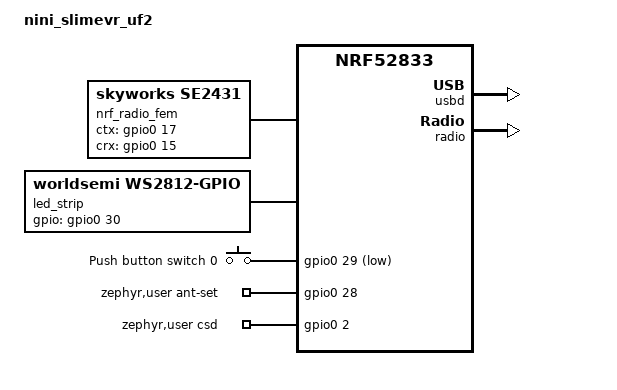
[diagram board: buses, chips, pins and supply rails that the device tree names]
// Copyright (c) 2024 Nordic Semiconductor ASA
// SPDX-License-Identifier: Apache-2.0

/dts-v1/;
#include <nordic/nrf52833_qdaa.dtsi>
#include <zephyr/dt-bindings/input/input-event-codes.h>
#include <zephyr/dt-bindings/led/led.h>

/ {
	model = "nini_slimevr_uf2";
	compatible = "nini_slimevr_uf2";

	chosen {
		zephyr,sram = <&sram0>;
		zephyr,flash = <&flash0>;
		zephyr,console = <&cdc_acm_uart0>;
		zephyr,shell-uart = <&cdc_acm_uart0>;
	};

	nrf_radio_fem: se2431_fem {
		compatible = "skyworks,se2431", "generic-fem-two-ctrl-pins";
		ctx-gpios = <&gpio0 17 GPIO_ACTIVE_HIGH>;  /* TXEN */
		ctx-settle-time-us = <23>;
		crx-gpios = <&gpio0 15 GPIO_ACTIVE_HIGH>;  /* RXEN */
		crx-settle-time-us = <8>;
		tx-gain-db = <22>;
		rx-gain-db = <19>;
	};

	led_strip: ws2812b {
		compatible = "worldsemi,ws2812-gpio";
		gpios = <&gpio0 30 GPIO_ACTIVE_HIGH>;
		chain-length = <1>;
		color-mapping = <LED_COLOR_ID_GREEN LED_COLOR_ID_RED LED_COLOR_ID_BLUE>;
		status = "okay";
	};

	buttons {
		compatible = "gpio-keys";
		button0: button_0 {
			gpios = <&gpio0 29 (GPIO_PULL_UP | GPIO_ACTIVE_LOW)>;
			label = "Push button switch 0";
			zephyr,code = <INPUT_KEY_0>;
		};
	};

	aliases {
		led-strip = <&led_strip>;
		sw0 = <&button0>;
	};

	zephyr,user {
		ant-set-gpios = <&gpio0 28 GPIO_ACTIVE_HIGH>;
		csd-gpios = <&gpio0 2 GPIO_ACTIVE_HIGH>;
	};
};

&reg1 {
	regulator-initial-mode = <NRF5X_REG_MODE_LDO>;
};

&gpio0 {
	status = "okay";
};

&gpiote {
	status = "okay";
};

zephyr_udc0: &usbd {
	compatible = "nordic,nrf-usbd";
	status = "okay";
	cdc_acm_uart0: cdc_acm_uart0 {
		compatible = "zephyr,cdc-acm-uart";
	};
};

&nfct {
	status = "disabled";
};

&radio {
	fem = <&nrf_radio_fem>;
};
